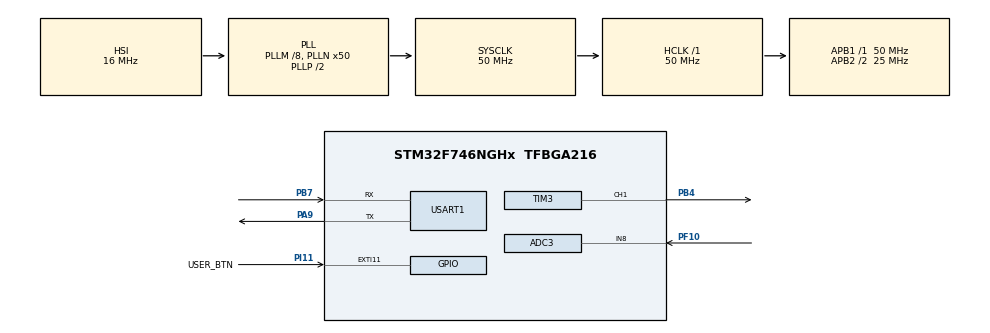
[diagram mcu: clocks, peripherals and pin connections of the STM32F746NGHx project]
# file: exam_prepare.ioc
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ADC3.Channel-1\#ChannelRegularConversion=ADC_CHANNEL_8
ADC3.NbrOfConversionFlag=1
ADC3.Rank-1\#ChannelRegularConversion=1
ADC3.SamplingTime-1\#ChannelRegularConversion=ADC_SAMPLETIME_3CYCLES
FREERTOS.Mutexes01=listMutex,Dynamic,NULL
FREERTOS.Tasks01=defaultTask,0,128,StartDefaultTask,Default,NULL,Dynamic,NULL,NULL;AppendList,0,256,StartAppendList,Default,NULL,Dynamic,NULL,NULL;PopBackList,-3,256,StartPopBackList,Default,NULL,Dynamic,NULL,NULL;PrintList,0,512,StartPrintList,Default,NULL,Dynamic,NULL,NULL;RecComm,0,256,StartRecComm,Default,NULL,Dynamic,NULL,NULL
Mcu.Family=STM32F7
Mcu.Name=STM32F746NGHx
Mcu.Package=TFBGA216
NVIC.EXTI15_10_IRQn=true\:5\:0\:false\:false\:true\:true\:true\:true
NVIC.PriorityGroup=NVIC_PRIORITYGROUP_4
NVIC.TIM5_IRQn=true\:5\:0\:false\:false\:true\:true\:true\:true
NVIC.TIM8_TRG_COM_TIM14_IRQn=true\:0\:0\:false\:false\:true\:false\:false\:true
NVIC.TimeBase=TIM8_TRG_COM_TIM14_IRQn
NVIC.TimeBaseIP=TIM14
NVIC.USART1_IRQn=true\:5\:0\:false\:false\:true\:true\:true\:true
PA13.Mode=Serial_Wire
PA13.Signal=SYS_JTMS-SWDIO
PA14.Mode=Serial_Wire
PA14.Signal=SYS_JTCK-SWCLK
PA9.Mode=Asynchronous
PA9.Signal=USART1_TX
PB4.Signal=S_TIM3_CH1
PB7.Mode=Asynchronous
PB7.Signal=USART1_RX
PC14/OSC32_IN.Mode=LSE-External-Oscillator
PC14/OSC32_IN.Signal=RCC_OSC32_IN
PC15/OSC32_OUT.Mode=LSE-External-Oscillator
PC15/OSC32_OUT.Signal=RCC_OSC32_OUT
PF10.Mode=IN8
PF10.Signal=ADC3_IN8
PH0/OSC_IN.Mode=HSE-External-Clock-Source
PH0/OSC_IN.Signal=RCC_OSC_IN
PH1/OSC_OUT.Mode=HSE-External-Clock-Source
PH1/OSC_OUT.Signal=RCC_OSC_OUT
PI11.GPIO_Label=USER_BTN
PI11.GPIO_ModeDefaultEXTI=GPIO_MODE_IT_RISING_FALLING
PI11.Signal=GPXTI11
ProjectManager.HeapSize=0x200
ProjectManager.StackSize=0x400
ProjectManager.TargetToolchain=STM32CubeIDE
RCC.AHBFreq_Value=50000000
RCC.APB1Freq_Value=50000000
RCC.APB1TimFreq_Value=50000000
RCC.APB2CLKDivider=RCC_HCLK_DIV2
RCC.APB2Freq_Value=25000000
RCC.APB2TimFreq_Value=50000000
RCC.CortexFreq_Value=50000000
RCC.HCLKFreq_Value=50000000
RCC.HSE_VALUE=25000000
RCC.HSI_VALUE=16000000
RCC.PLLM=8
RCC.PLLN=50
RCC.PLLQ=3
RCC.PLLSourceVirtual=RCC_PLLSOURCE_HSI
RCC.SYSCLKFreq_VALUE=50000000
RCC.SYSCLKSource=RCC_SYSCLKSOURCE_PLLCLK
RCC.USBFreq_Value=33333333.333333332
RCC.VCOOutputFreq_Value=100000000
SH.S_TIM3_CH1.0=TIM3_CH1,PWM Generation1 CH1
TIM3.Channel-PWM\ Generation1\ CH1=TIM_CHANNEL_1
TIM3.Period=100
TIM3.Prescaler=5000-1
TIM5.Period=5000
TIM5.Prescaler=50000-1
USART1.VirtualMode-Asynchronous=VM_ASYNC
VP_FREERTOS_VS_CMSIS_V1.Mode=CMSIS_V1
VP_RNG_VS_RNG.Mode=RNG_Activate
VP_SYS_VS_tim14.Mode=TIM14
VP_TIM5_VS_ClockSourceINT.Mode=Internal
board=STM32F746G-DISCO

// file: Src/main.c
/* USER CODE BEGIN Header */
/**
  ******************************************************************************
  * @file           : main.c
  * @brief          : Main program body
  ******************************************************************************
  * @attention
  *
  * <h2><center>&copy; Copyright (c) 2019 STMicroelectronics.
  * All rights reserved.</center></h2>
  *
  * This software component is licensed by ST under BSD 3-Clause license,
  * the "License"; You may not use this file except in compliance with the
  * License. You may obtain a copy of the License at:
  *                        opensource.org/licenses/BSD-3-Clause
  *
  ******************************************************************************
  */
/* USER CODE END Header */

#include "main.h"
#include "cmsis_os.h"

/* USER CODE BEGIN Includes */
#include <stdio.h>
#include <string.h>
#include "linked_list.h"
/* USER CODE END Includes */

/* USER CODE BEGIN PTD */
typedef enum timer_state{
	TICK,
	NO_TICK
}timer_state_t;
/* USER CODE END PTD */

ADC_HandleTypeDef hadc3;

RNG_HandleTypeDef hrng;

TIM_HandleTypeDef htim3;
TIM_HandleTypeDef htim5;

UART_HandleTypeDef huart1;

osThreadId defaultTaskHandle;
osThreadId AppendListHandle;
osThreadId PopBackListHandle;
osThreadId PrintListHandle;
osThreadId RecCommHandle;
osMutexId listMutexHandle;
/* USER CODE BEGIN PV */
//System check vars
int tick = 0;
int system_start_flag = 0;
int button_push_start_time;
volatile int prev_tick;
int timer_no_tick_check = 0;
int wrong_message_counter = 0;
timer_state_t timer_state = TICK;
//Used vars
node_t* store_random;
char uart_buffer;
char command[128];
int uart_char_counter = 0;
/* USER CODE END PV */

void SystemClock_Config(void);
static void MX_GPIO_Init(void);
static void MX_ADC3_Init(void);
static void MX_RNG_Init(void);
static void MX_TIM3_Init(void);
static void MX_TIM5_Init(void);
static void MX_USART1_UART_Init(void);
void StartDefaultTask(void const * argument);
void StartAppendList(void const * argument);
void StartPopBackList(void const * argument);
void StartPrintList(void const * argument);
void StartRecComm(void const * argument);

/* USER CODE BEGIN PFP */
coord_t generate_random_data();
void print_linked_list();
/* USER CODE END PFP */

/* USER CODE BEGIN 0 */
coord_t generate_random_data()
{
	  coord_t random_data;
	  random_data.x = HAL_RNG_GetRandomNumber(&hrng) % 100 + 1;
	  random_data.y = HAL_RNG_GetRandomNumber(&hrng) % 200 + 1;

	  return random_data;
}

void print_linked_list(node_t* list)
{
	if(list == NULL){
		char tmp[32];
		sprintf(tmp, "Empty list!\n");
		HAL_UART_Transmit(&huart1, (uint8_t*)tmp, strlen(tmp), 50);
	}

	int i = 0;
	for(node_t* p = list; p != NULL; p = p->next){
	  char tmp[128];
	  sprintf(tmp, "%d. COORD_X: %d\nCOORD_Y: %d\n", i + 1, p->data.x, p->data.y);
	  i++;
	  HAL_UART_Transmit(&huart1, (uint8_t*)tmp, strlen(tmp), 50);
	}
}
/* USER CODE END 0 */

int main(void)
{

  /* MCU Configuration--------------------------------------------------------*/

  /* Reset of all peripherals, Initializes the Flash interface and the Systick. */
  HAL_Init();

  /* Configure the system clock */
  SystemClock_Config();

  /* Initialize all configured peripherals */
  MX_GPIO_Init();
  MX_ADC3_Init();
  MX_RNG_Init();
  MX_TIM3_Init();
  MX_TIM5_Init();
  MX_USART1_UART_Init();
  /* USER CODE BEGIN 2 */
  HAL_TIM_Base_Start_IT(&htim5);
  HAL_TIM_PWM_Start(&htim3, TIM_CHANNEL_1);
  HAL_UART_Receive_IT(&huart1, (uint8_t*)(&uart_buffer), 1);
  /* USER CODE END 2 */

  /* Create the mutex(es) */
  /* definition and creation of listMutex */
  osMutexDef(listMutex);
  listMutexHandle = osMutexCreate(osMutex(listMutex));

  /* Create the thread(s) */
  /* definition and creation of defaultTask */
  osThreadDef(defaultTask, StartDefaultTask, osPriorityNormal, 0, 128);
  defaultTaskHandle = osThreadCreate(osThread(defaultTask), NULL);

  /* definition and creation of AppendList */
  osThreadDef(AppendList, StartAppendList, osPriorityNormal, 0, 256);
  AppendListHandle = osThreadCreate(osThread(AppendList), NULL);

  /* definition and creation of PopBackList */
  osThreadDef(PopBackList, StartPopBackList, osPriorityIdle, 0, 256);
  PopBackListHandle = osThreadCreate(osThread(PopBackList), NULL);

  /* definition and creation of PrintList */
  osThreadDef(PrintList, StartPrintList, osPriorityNormal, 0, 512);
  PrintListHandle = osThreadCreate(osThread(PrintList), NULL);

  /* definition and creation of RecComm */
  osThreadDef(RecComm, StartRecComm, osPriorityNormal, 0, 256);
  RecCommHandle = osThreadCreate(osThread(RecComm), NULL);

  /* Start scheduler */
  osKernelStart();

  /* We should never get here as control is now taken by the scheduler */

  /* Infinite loop */
  while (1)
  {

  }
}

void SystemClock_Config(void)
{
  RCC_OscInitTypeDef RCC_OscInitStruct = {0};
  RCC_ClkInitTypeDef RCC_ClkInitStruct = {0};
  RCC_PeriphCLKInitTypeDef PeriphClkInitStruct = {0};

  /** Configure LSE Drive Capability
  */
  HAL_PWR_EnableBkUpAccess();
  /** Configure the main internal regulator output voltage
  */
  __HAL_RCC_PWR_CLK_ENABLE();
  __HAL_PWR_VOLTAGESCALING_CONFIG(PWR_REGULATOR_VOLTAGE_SCALE3);
  /** Initializes the CPU, AHB and APB busses clocks
  */
  RCC_OscInitStruct.OscillatorType = RCC_OSCILLATORTYPE_HSI;
  RCC_OscInitStruct.HSIState = RCC_HSI_ON;
  RCC_OscInitStruct.HSICalibrationValue = RCC_HSICALIBRATION_DEFAULT;
  RCC_OscInitStruct.PLL.PLLState = RCC_PLL_ON;
  RCC_OscInitStruct.PLL.PLLSource = RCC_PLLSOURCE_HSI;
  RCC_OscInitStruct.PLL.PLLM = 8;
  RCC_OscInitStruct.PLL.PLLN = 50;
  RCC_OscInitStruct.PLL.PLLP = RCC_PLLP_DIV2;
  RCC_OscInitStruct.PLL.PLLQ = 3;
  if (HAL_RCC_OscConfig(&RCC_OscInitStruct) != HAL_OK)
  {
    Error_Handler();
  }
  /** Activate the Over-Drive mode
  */
  if (HAL_PWREx_EnableOverDrive() != HAL_OK)
  {
    Error_Handler();
  }
  /** Initializes the CPU, AHB and APB busses clocks
  */
  RCC_ClkInitStruct.ClockType = RCC_CLOCKTYPE_HCLK|RCC_CLOCKTYPE_SYSCLK
                              |RCC_CLOCKTYPE_PCLK1|RCC_CLOCKTYPE_PCLK2;
  RCC_ClkInitStruct.SYSCLKSource = RCC_SYSCLKSOURCE_PLLCLK;
  RCC_ClkInitStruct.AHBCLKDivider = RCC_SYSCLK_DIV1;
  RCC_ClkInitStruct.APB1CLKDivider = RCC_HCLK_DIV1;
  RCC_ClkInitStruct.APB2CLKDivider = RCC_HCLK_DIV2;

  if (HAL_RCC_ClockConfig(&RCC_ClkInitStruct, FLASH_LATENCY_1) != HAL_OK)
  {
    Error_Handler();
  }
  PeriphClkInitStruct.PeriphClockSelection = RCC_PERIPHCLK_USART1|RCC_PERIPHCLK_CLK48;
  PeriphClkInitStruct.Usart1ClockSelection = RCC_USART1CLKSOURCE_PCLK2;
  PeriphClkInitStruct.Clk48ClockSelection = RCC_CLK48SOURCE_PLL;
  if (HAL_RCCEx_PeriphCLKConfig(&PeriphClkInitStruct) != HAL_OK)
  {
    Error_Handler();
  }
}

static void MX_ADC3_Init(void)
{

  ADC_ChannelConfTypeDef sConfig = {0};

  /** Configure the global features of the ADC (Clock, Resolution, Data Alignment and number of conversion)
  */
  hadc3.Instance = ADC3;
  hadc3.Init.ClockPrescaler = ADC_CLOCK_SYNC_PCLK_DIV2;
  hadc3.Init.Resolution = ADC_RESOLUTION_12B;
  hadc3.Init.ScanConvMode = ADC_SCAN_DISABLE;
  hadc3.Init.ContinuousConvMode = DISABLE;
  hadc3.Init.DiscontinuousConvMode = DISABLE;
  hadc3.Init.ExternalTrigConvEdge = ADC_EXTERNALTRIGCONVEDGE_NONE;
  hadc3.Init.ExternalTrigConv = ADC_SOFTWARE_START;
  hadc3.Init.DataAlign = ADC_DATAALIGN_RIGHT;
  hadc3.Init.NbrOfConversion = 1;
  hadc3.Init.DMAContinuousRequests = DISABLE;
  hadc3.Init.EOCSelection = ADC_EOC_SINGLE_CONV;
  if (HAL_ADC_Init(&hadc3) != HAL_OK)
  {
    Error_Handler();
  }
  /** Configure for the selected ADC regular channel its corresponding rank in the sequencer and its sample time.
  */
  sConfig.Channel = ADC_CHANNEL_8;
  sConfig.Rank = ADC_REGULAR_RANK_1;
  sConfig.SamplingTime = ADC_SAMPLETIME_3CYCLES;
  if (HAL_ADC_ConfigChannel(&hadc3, &sConfig) != HAL_OK)
  {
    Error_Handler();
  }

}

static void MX_RNG_Init(void)
{

  hrng.Instance = RNG;
  if (HAL_RNG_Init(&hrng) != HAL_OK)
  {
    Error_Handler();
  }

}

static void MX_TIM3_Init(void)
{

  TIM_MasterConfigTypeDef sMasterConfig = {0};
  TIM_OC_InitTypeDef sConfigOC = {0};

  htim3.Instance = TIM3;
  htim3.Init.Prescaler = 5000-1;
  htim3.Init.CounterMode = TIM_COUNTERMODE_UP;
  htim3.Init.Period = 100;
  htim3.Init.ClockDivision = TIM_CLOCKDIVISION_DIV1;
  htim3.Init.AutoReloadPreload = TIM_AUTORELOAD_PRELOAD_DISABLE;
  if (HAL_TIM_PWM_Init(&htim3) != HAL_OK)
  {
    Error_Handler();
  }
  sMasterConfig.MasterOutputTrigger = TIM_TRGO_RESET;
  sMasterConfig.MasterSlaveMode = TIM_MASTERSLAVEMODE_DISABLE;
  if (HAL_TIMEx_MasterConfigSynchronization(&htim3, &sMasterConfig) != HAL_OK)
  {
    Error_Handler();
  }
  sConfigOC.OCMode = TIM_OCMODE_PWM1;
  sConfigOC.Pulse = 0;
  sConfigOC.OCPolarity = TIM_OCPOLARITY_HIGH;
  sConfigOC.OCFastMode = TIM_OCFAST_DISABLE;
  if (HAL_TIM_PWM_ConfigChannel(&htim3, &sConfigOC, TIM_CHANNEL_1) != HAL_OK)
  {
    Error_Handler();
  }
  HAL_TIM_MspPostInit(&htim3);

}

static void MX_TIM5_Init(void)
{

  TIM_ClockConfigTypeDef sClockSourceConfig = {0};
  TIM_MasterConfigTypeDef sMasterConfig = {0};

  htim5.Instance = TIM5;
  htim5.Init.Prescaler = 50000-1;
  htim5.Init.CounterMode = TIM_COUNTERMODE_UP;
  htim5.Init.Period = 5000;
  htim5.Init.ClockDivision = TIM_CLOCKDIVISION_DIV1;
  htim5.Init.AutoReloadPreload = TIM_AUTORELOAD_PRELOAD_DISABLE;
  if (HAL_TIM_Base_Init(&htim5) != HAL_OK)
  {
    Error_Handler();
  }
  sClockSourceConfig.ClockSource = TIM_CLOCKSOURCE_INTERNAL;
  if (HAL_TIM_ConfigClockSource(&htim5, &sClockSourceConfig) != HAL_OK)
  {
    Error_Handler();
  }
  sMasterConfig.MasterOutputTrigger = TIM_TRGO_RESET;
  sMasterConfig.MasterSlaveMode = TIM_MASTERSLAVEMODE_DISABLE;
  if (HAL_TIMEx_MasterConfigSynchronization(&htim5, &sMasterConfig) != HAL_OK)
  {
    Error_Handler();
  }

}

static void MX_USART1_UART_Init(void)
{

  huart1.Instance = USART1;
  huart1.Init.BaudRate = 115200;
  huart1.Init.WordLength = UART_WORDLENGTH_8B;
  huart1.Init.StopBits = UART_STOPBITS_1;
  huart1.Init.Parity = UART_PARITY_NONE;
  huart1.Init.Mode = UART_MODE_TX_RX;
  huart1.Init.HwFlowCtl = UART_HWCONTROL_NONE;
  huart1.Init.OverSampling = UART_OVERSAMPLING_16;
  huart1.Init.OneBitSampling = UART_ONE_BIT_SAMPLE_DISABLE;
  huart1.AdvancedInit.AdvFeatureInit = UART_ADVFEATURE_NO_INIT;
  if (HAL_UART_Init(&huart1) != HAL_OK)
  {
    Error_Handler();
  }

}

static void MX_GPIO_Init(void)
{
  GPIO_InitTypeDef GPIO_InitStruct = {0};

  /* GPIO Ports Clock Enable */
  __HAL_RCC_GPIOB_CLK_ENABLE();
  __HAL_RCC_GPIOA_CLK_ENABLE();
  __HAL_RCC_GPIOC_CLK_ENABLE();
  __HAL_RCC_GPIOI_CLK_ENABLE();
  __HAL_RCC_GPIOH_CLK_ENABLE();
  __HAL_RCC_GPIOF_CLK_ENABLE();

  /*Configure GPIO pin : USER_BTN_Pin */
  GPIO_InitStruct.Pin = USER_BTN_Pin;
  GPIO_InitStruct.Mode = GPIO_MODE_IT_RISING_FALLING;
  GPIO_InitStruct.Pull = GPIO_NOPULL;
  HAL_GPIO_Init(USER_BTN_GPIO_Port, &GPIO_InitStruct);

  /* EXTI interrupt init*/
  HAL_NVIC_SetPriority(EXTI15_10_IRQn, 5, 0);
  HAL_NVIC_EnableIRQ(EXTI15_10_IRQn);

}

/* USER CODE BEGIN 4 */
void HAL_GPIO_EXTI_Callback(uint16_t GPIO_Pin)
{
	/*if(GPIO_Pin == USER_BTN_Pin){
	      if(button_state == PUSH){
	        button_push_start_time = HAL_GetTick();
	        button_state = RELEASE;
	      }else{
	        int difference = HAL_GetTick() - button_push_start_time;
	        button_state = PUSH;
	        osSignalSet(PopBackListHandle, 2);
	      }*/

	if(GPIO_Pin == USER_BTN_Pin){
		if(HAL_GPIO_ReadPin(USER_BTN_GPIO_Port, USER_BTN_Pin)){
			prev_tick = HAL_GetTick();
		}else{
			if(HAL_GetTick() - prev_tick > 2000){
				osSignalSet(PopBackListHandle, 2);
			}
		}
	}

}

void HAL_UART_RxCpltCallback(UART_HandleTypeDef *huart) {
	if(huart->Instance == USART1) {
		if(system_start_flag){
			//HAL_UART_Receive_IT(&huart1, (uint8_t*)(&buffer_bela), 1);
			command[uart_char_counter] = uart_buffer;
			if(uart_buffer != '\0') {
				uart_char_counter++;
			} else {
				//should_print = 1;
				osSignalSet(RecCommHandle, 3);
				//command[uart_char_counter + 1] = '\0';
				uart_char_counter = 0;
			}

			HAL_UART_Receive_IT(&huart1, (uint8_t*)(&uart_buffer), 1);
		}
	}
}

/* USER CODE END 4 */

void StartDefaultTask(void const * argument)
{

  for(;;)
  {
    osDelay(1);
  }
}

void StartAppendList(void const * argument)
{
  /* USER CODE BEGIN StartAppendList */
	store_random = linked_list_create();
  /* Infinite loop */
  for(;;)
  {
	  osSignalWait(1, osWaitForever);
	  osMutexWait(listMutexHandle, osWaitForever);
	  linked_list_push_front(&store_random, generate_random_data());
	  osMutexRelease(listMutexHandle);

    osDelay(1);
  }
  /* USER CODE END StartAppendList */
}

void StartPopBackList(void const * argument)
{
  /* USER CODE BEGIN StartPopBackList */
  /* Infinite loop */
  for(;;)
  {
	  osSignalWait(2, osWaitForever);

	  osMutexWait(listMutexHandle, osWaitForever);
	  linked_list_pop_back(store_random);
	  /*here
	  if(store_random->next == NULL && (TIM5->ARR + 15000) > 15000){
		  linked_list_deallocate(store_random);
	  }
	  */
      osMutexRelease(listMutexHandle);
    osDelay(1);
  }
  /* USER CODE END StartPopBackList */
}

void StartPrintList(void const * argument)
{
  /* USER CODE BEGIN StartPrintList */
  /* Infinite loop */
  for(;;)
  {
	  osMutexWait(listMutexHandle, osWaitForever);
	  print_linked_list(store_random);
	  osMutexRelease(listMutexHandle);

    osDelay(1000);
  }
  /* USER CODE END StartPrintList */
}

void StartRecComm(void const * argument)
{
  /* USER CODE BEGIN StartRecComm */
  /* Infinite loop */
  for(;;)
  {
	  osSignalWait(3, osWaitForever);

	  if(!strcmp(command, "STOP\0")){
		  timer_state = NO_TICK;
	  }else if(!strcmp(command, "START\0")){
		  timer_state = TICK;
	  }else {
		  wrong_message_counter++;
	  }

    osDelay(1);
  }
  /* USER CODE END StartRecComm */
}

void HAL_TIM_PeriodElapsedCallback(TIM_HandleTypeDef *htim)
{
  /* USER CODE BEGIN Callback 0 */
  if(htim->Instance == TIM5){
	  if(!system_start_flag){
		  system_start_flag = 1;

		  return;
	  }

	  if(timer_state == TICK){
		  osSignalSet(AppendListHandle, 1);
	  }else if(timer_state == NO_TICK){
		  timer_no_tick_check = 23;
	  }
  }
  /* USER CODE END Callback 0 */
  if (htim->Instance == TIM14) {
    HAL_IncTick();
  }
}

void Error_Handler(void)
{
}

/************************ (C) COPYRIGHT STMicroelectronics *****END OF FILE****/
